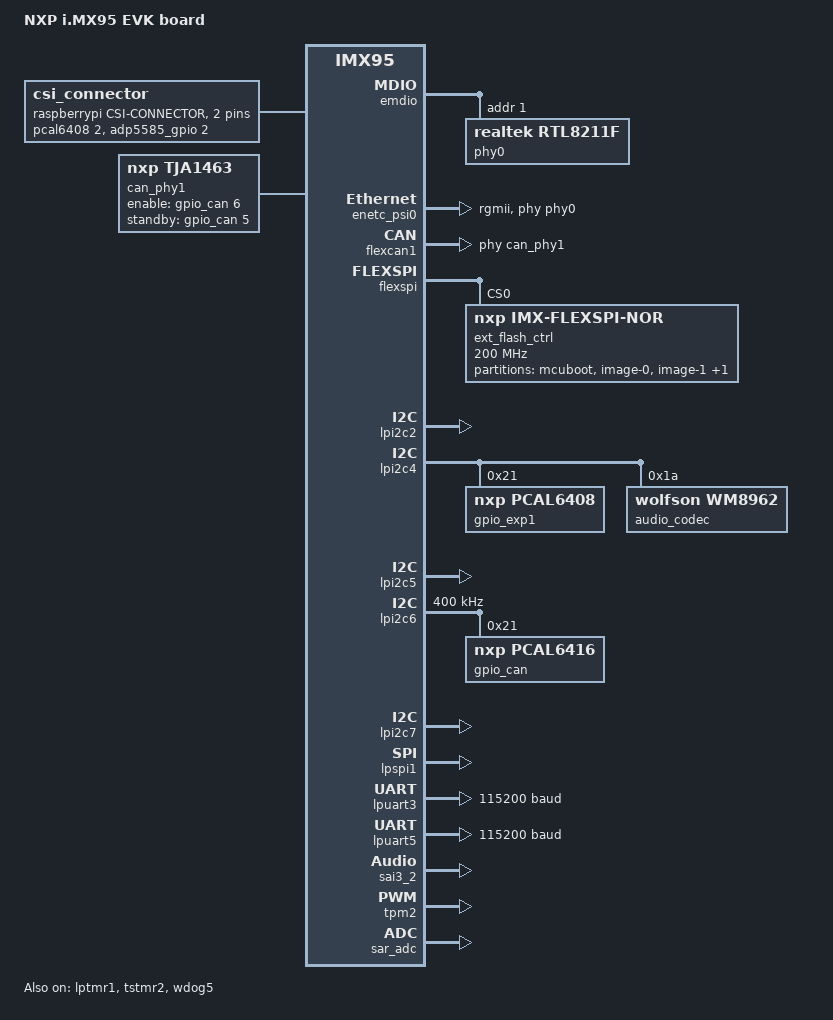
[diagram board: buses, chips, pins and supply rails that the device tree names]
/*
 * Copyright 2024-2026 NXP
 *
 * SPDX-License-Identifier: Apache-2.0
 */

/dts-v1/;

#include <nxp/imx/nxp_imx95_m7.dtsi>
#include "imx95_evk-pinctrl.dtsi"
#include <dt-bindings/mipi_dsi/mipi_dsi.h>
#include <zephyr/dt-bindings/gpio/raspberrypi-csi-connector.h>

/ {
	model = "NXP i.MX95 EVK board";
	compatible = "nxp,imx95_evk";

	aliases {
		watchdog0 = &wdog5;
		i2s-codec-tx = &sai3_2;
		i2s-tx = &sai3_2;
	};

	/* Camera connector abstraction (for camera shields) */
	csi_connector: cam_connector {
		compatible = "raspberrypi,csi-connector";
		#gpio-cells = <2>;
		gpio-map-mask = <0xffffffff 0xffffffc0>;
		gpio-map-pass-thru = <0 0x3f>;
		gpio-map = <CSI_IO0 0 &pcal6408 2 0>,
			   <CSI_IO1 0 &adp5585_gpio 2 0>;
	};

	chosen {
		/* TCM */
		zephyr,flash = &itcm;
		zephyr,sram = &dtcm;

		zephyr,flash-controller = &ext_flash_ctrl;
		zephyr,console = &lpuart3;
		zephyr,shell-uart = &lpuart3;
		zephyr,canbus = &flexcan1;
	};

	can_phy1: can-phy1 {
		compatible = "nxp,tja1463", "can-transceiver-gpio";
		enable-gpios = <&gpio_can 6 GPIO_ACTIVE_HIGH>;
		standby-gpios = <&gpio_can 5 GPIO_ACTIVE_HIGH>;
		max-bitrate = <8000000>;
		#phy-cells = <0>;
		status = "okay";
	};
};

&emdio {
	pinctrl-0 = <&emdio_default>;
	pinctrl-names = "default";
	status = "okay";

	phy0: phy@1 {
		compatible = "realtek,rtl8211f";
		reg = <0x1>;
		status = "okay";
	};
};

&enetc_psi0 {
	local-mac-address = [00 00 00 01 02 00];
	pinctrl-0 = <&eth0_default>;
	pinctrl-names = "default";
	phy-handle = <&phy0>;
	phy-connection-type = "rgmii";
	ptp-clock = <&enetc_ptp_clock>;
	status = "okay";
};

&enetc_ptp_clock {
	status = "okay";
};

&flexcan1 {
	pinctrl-0 = <&flexcan1_default>;
	pinctrl-names = "default";
	phys = <&can_phy1>;
	status = "okay";
};

&flexspi {
	status = "okay";
	ahb-prefetch;
	ahb-read-addr-opt;
	rx-clock-source = <1>;
	pinctrl-0 = <&flexspi_default>;
	pinctrl-names = "default";

	ext_flash_ctrl: flash-controller@0 {
		compatible = "nxp,imx-flexspi-nor";
		size = <DT_SIZE_M(1024)>;
		reg = <0>;
		spi-max-frequency = <DT_FREQ_M(200)>;
		status = "okay";
		jedec-id = [2c 5b 1b];

		#address-cells = <1>;
		#size-cells = <1>;
		ranges = <0x0 0x28000000 DT_SIZE_M(128)>;

		mt35xu01gbba: flash@0 {
			compatible = "soc-nv-flash";
			reg = <0x0 DT_SIZE_M(128)>;
			erase-block-size = <DT_SIZE_K(4)>;
			write-block-size = <2>;

			#address-cells = <1>;
			#size-cells = <1>;
			ranges;

			partitions {
				#address-cells = <1>;
				#size-cells = <1>;
				ranges;

				/*
				 * Partition sizes must be aligned
				 * to the flash memory sector size of 4KB.
				 */
				boot_partition: partition@0 {
					compatible = "zephyr,mapped-partition";
					label = "mcuboot";
					reg = <0x00000000 DT_SIZE_K(128)>;
				};

				slot0_partition: partition@20000 {
					compatible = "zephyr,mapped-partition";
					label = "image-0";
					reg = <0x00020000 DT_SIZE_M(7)>;
				};

				slot1_partition: partition@720000 {
					compatible = "zephyr,mapped-partition";
					label = "image-1";
					reg = <0x00720000 DT_SIZE_M(7)>;
				};

				storage_partition: partition@e20000 {
					compatible = "zephyr,mapped-partition";
					label = "storage";
					reg = <0x00e20000 (DT_SIZE_M(2) - DT_SIZE_K(128))>;
				};
			};
		};
	};
};

&lpi2c2 {
	pinctrl-0 = <&lpi2c2_default>;
	pinctrl-names = "default";
	status = "okay";
};

&lpi2c4 {
	pinctrl-0 = <&lpi2c4_default>;
	pinctrl-names = "default";
	#address-cells = <1>;
	#size-cells = <0>;
	status = "okay";

	gpio_exp1: gpio-exp@21 {
		compatible = "nxp,pcal6408";
		reg = <0x21>;
		#gpio-cells = <2>;
		gpio-controller;
		ngpios = <8>;

		codec-sai3-sel-hog {
			gpio-hog;
			gpios = <7 GPIO_ACTIVE_LOW>;
			output-low;
			line-name = "CODEC_SLOT_SAI3_SEL";
		};
	};

	audio_codec: wm8962@1a {
		compatible = "wolfson,wm8962";
		reg = <0x1a>;
		clock-source = "MCLK";
		clocks = <&scmi_clk IMX95_CLK_SAI3>;
		clock-names = "mclk";
	};
};

&lpi2c3 {
	status = "disabled";
	pinctrl-0 = <&lpi2c3_default>;
	pinctrl-names = "default";

	/* ADP5585 MFD device for camera power control */
	mfd_adp5585: adp5585@34 {
		compatible = "adi,adp5585";
		reg = <0x34>;
		status = "disabled";

		/* GPIO child node */
		adp5585_gpio: adp5585_gpio {
			compatible = "adi,adp5585-gpio";
			gpio-controller;
			#gpio-cells = <2>;
			ngpios = <13>;
			gpio-reserved-ranges = <5 3>;
			status = "disabled";
		};
	};

	pcal6408: gpio@20 {
		compatible = "nxp,pcal6408a";
		reg = <0x20>;
		gpio-controller;
		#gpio-cells = <2>;
		ngpios = <8>;
		status = "disabled";
	};
};

&lpi2c5 {
	pinctrl-0 = <&lpi2c5_default>;
	pinctrl-names = "default";
	status = "okay";
};

&lpi2c6 {
	clock-frequency = <I2C_BITRATE_FAST>;
	pinctrl-0 = <&lpi2c6_default>;
	pinctrl-names = "default";
	status = "okay";

	gpio_can: pcal6416@21 {
		compatible = "nxp,pcal6416";
		reg = <0x21>;
		#gpio-cells = <2>;
		gpio-controller;
		ngpios = <16>;
		status = "okay";

		/* Set PDM_CAN_SEL as active high to select CAN1 */
		can_sel_hog {
			gpio-hog;
			gpios = <10 GPIO_ACTIVE_HIGH>;
			output-high;
		};
	};
};

&lpi2c7 {
	pinctrl-0 = <&lpi2c7_default>;
	pinctrl-names = "default";
	status = "okay";
};

&lpspi1 {
	pinctrl-0 = <&lpspi1_default>;
	pinctrl-names = "default";
	status = "okay";
};

&lpuart3 {
	status = "okay";
	current-speed = <115200>;
	pinctrl-0 = <&lpuart3_default>;
	pinctrl-names = "default";
};

&lpuart5 {
	status = "okay";
	current-speed = <115200>;
	pinctrl-0 = <&lpuart5_default>;
	pinctrl-names = "default";
};

&sai3 {
	pinctrl-0 = <&sai3_default>;
	pinctrl-names = "default";
};

&sai3_2 {
	mclk-output;
	pinctrl-0 = <&sai3_default>;
	pinctrl-names = "default";
	status = "okay";
};

&tpm2 {
	pinctrl-0 = <&tpm2_default>;
	pinctrl-names = "default";
	status = "okay";
};

&lptmr1 {
	status = "okay";
};

&tstmr2 {
	status = "okay";
};

&edma1 {
	status = "okay";
};

&edma2 {
	status = "okay";
};

&gpio2 {
	status = "okay";
};

&gpio3 {
	status = "okay";
};

&gpio4 {
	status = "okay";
};

&gpio5 {
	status = "okay";
};

&sar_adc {
	status = "okay";
};

zephyr_dpu: &dpu {};

zephyr_mipi_dsi: &mipi_dsi {};

display_i2c: &lpi2c2 {};

&wdog5 {
	status = "okay";
};

csi_i2c: &lpi2c3 {};

/ {
	/* Camera power regulators (ADP5585 is on-board, not on the shield) */
	reg_cam_dvdd: regulator-cam-dvdd {
		compatible = "regulator-fixed";
		regulator-name = "CAM_DVDD_1V2";
		enable-gpios = <&adp5585_gpio 9 GPIO_ACTIVE_HIGH>;
		status = "disabled";
	};

	reg_cam_vddio: regulator-cam-vddio {
		compatible = "regulator-fixed";
		regulator-name = "CAM_VDDIO_1V8";
		enable-gpios = <&adp5585_gpio 8 GPIO_ACTIVE_HIGH>;
		status = "disabled";
	};

	reg_cam_avdd: regulator-cam-avdd {
		compatible = "regulator-fixed";
		regulator-name = "CAM_AVDD_2V8";
		enable-gpios = <&adp5585_gpio 10 GPIO_ACTIVE_HIGH>;
		status = "disabled";
	};

	reg_cam_vddio_hmisc: regulator-cam-vddio-hmisc {
		compatible = "regulator-fixed";
		regulator-name = "CAM_VDDIO_HMISC_1V8";
		enable-gpios = <&adp5585_gpio 12 GPIO_ACTIVE_HIGH>;
		status = "disabled";
	};
};
